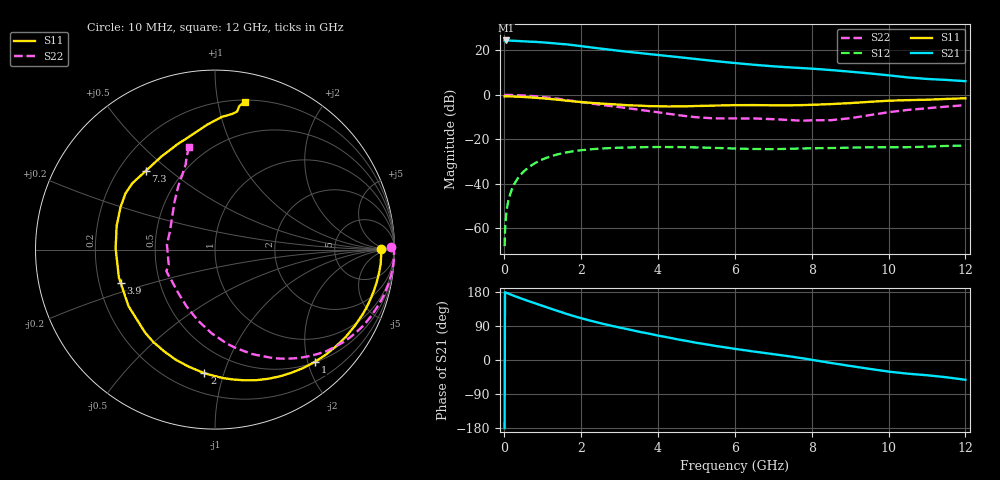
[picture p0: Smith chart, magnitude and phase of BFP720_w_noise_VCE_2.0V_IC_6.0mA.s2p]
! Infineon Technologies  Discrete & RF Semiconductors
! BFP720
! VCE =  2.0 V,  IC =  6.0 mA
! Common Emitter S-Parameters:  Aug 2012
# GHz  S  MA  R  50
!  f  S11  S21  S12  S22
! GHz  MAG  ANG  MAG  ANG  MAG  ANG  MAG  ANG
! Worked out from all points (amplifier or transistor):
!   105 points, 10 MHz to 12 GHz, reference 50 ohm
!   highest |S21| = 24.5 dB at 50 MHz (marker M1)
!   |S21| within 3 dB of that: start of sweep to 2.207 GHz
!   unconditionally stable (mu >= 1): start of sweep to 11.22 MHz; 6.381 GHz to 11.51 GHz
!   at 300 MHz: K = 0.05, MSG = 31.6 dB, |S12| = -38.9 dB
!   at 3.6 GHz: K = 0.53, MSG = 21.1 dB, |S12| = -23.5 dB
!   at 12 GHz: K = 0.85, MSG = 14.5 dB, |S12| = -22.8 dB
!   lowest NFmin = 0.43 dB at 450 MHz
!   S11 on the Smith chart (normalised r, x): 10 MHz: 25, +1; 1 GHz: 0.51, -2.12; 2 GHz: 0.33, -0.86; 3.9 GHz: 0.29, -0.16; 7.3 GHz: 0.31, +0.42; 12 GHz: 0.21, +1.20
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0.01  0.924 0.2  16.55 -179.9  0.0004 2.5  0.9831 0.9
0.02  0.9266 -0.9  16.5 178.6  0.0008 99.4  0.9974 -0.6
0.05  0.9262 -2.4  16.7 177.5  0.002 85.3  0.9975 -1.6
0.2  0.9212 -9.6  16.49 171.5  0.0076 84.9  0.9938 -6.7
0.5  0.8973 -24.0  15.97 160.2  0.0188 75.5  0.9693 -16.7
1  0.8371 -48.4  15.11 142.8  0.0356 61.1  0.8974 -33.1
1.3  0.7929 -63.0  14.41 132.5  0.044 52.9  0.8386 -42.5
1.6  0.7453 -77.6  13.7 122.4  0.0507 45.2  0.7732 -51.0
2  0.6912 -94.9  12.44 110.4  0.0571 36.2  0.6892 -61.4
2.1  0.6782 -98.7  12.13 107.7  0.0582 34.2  0.6696 -63.6
2.6  0.6328 -116.9  10.72 94.8  0.0629 25.4  0.5857 -74.4
3  0.6045 -130.2  9.766 85.6  0.0653 19.6  0.5308 -82.4
3.5  0.5758 -146.8  8.767 74.7  0.0669 13.2  0.4668 -92.3
3.9  0.5572 -160.3  8.045 66.7  0.0673 8.9  0.4184 -100.8
4.1  0.553 -167.2  7.719 62.6  0.0674 6.8  0.3957 -105.6
5  0.5635 166.5  6.38 45.3  0.0661 -1.1  0.3154 -131.1
6.1  0.5887 146.5  5.101 28.0  0.0621 -6.4  0.296 -153.3
7.3  0.5839 131.3  4.219 11.3  0.0613 -6.7  0.2763 -160.5
8.5  0.6218 110.0  3.612 -7.8  0.064 -9.6  0.2705 158.7
9.5  0.6978 93.5  3.041 -23.3  0.0666 -12.5  0.3492 130.2
10.5  0.7629 82.6  2.467 -36.1  0.0669 -15.4  0.4593 113.1
12  0.8398 78.6  2.033 -52.2  0.0726 -20.5  0.5878 104.1
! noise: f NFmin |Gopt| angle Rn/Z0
0.45  0.43  0.44  3  0.13
1.8  0.51  0.42  24  0.13
2.4  0.55  0.3  55  0.23
5.5  0.69  0.2  58  0.14
10  0.95  0.39  -89  0.21
